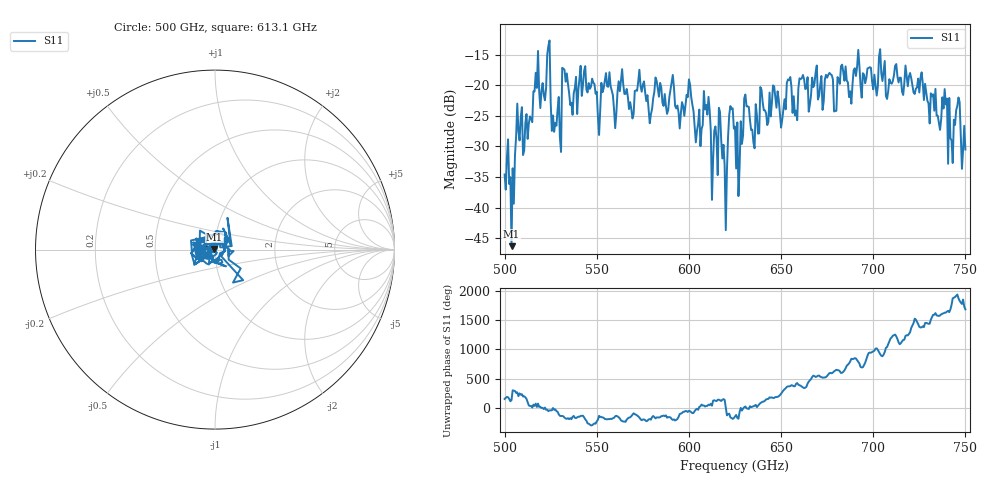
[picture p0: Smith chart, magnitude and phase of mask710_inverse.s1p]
!Created with skrf (http://scikit-rf.org).
# GHz S MA R 50.0
!freq magS11 angS11
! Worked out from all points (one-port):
!   401 points, 500 GHz to 750 GHz, reference 50 ohm
!   lowest |S11| = -46.3 dB at 503.8 GHz (marker M1), VSWR 1.01, Z = 49.7 + j0.379 ohm
!   |S11| at or under -10 dB: start of sweep to end of sweep
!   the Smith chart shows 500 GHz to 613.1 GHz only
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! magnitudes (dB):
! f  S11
! 500 GHz  -34.6
! 503.8 GHz  -46.3
! 508.1 GHz  -29.0
! 511.2 GHz  -26.2
! 516.9 GHz  -18.0
! 523.8 GHz  -13.6
! 526.9 GHz  -27.6
! 531.2 GHz  -17.2
! 532.5 GHz  -17.5
! 550.6 GHz  -25.1
! 562.5 GHz  -21.0
! 593.8 GHz  -23.3
! 609.4 GHz  -23.2
! 613.1 GHz  -32.1
! 617.5 GHz  -28.8
! 619.4 GHz  -33.1
! 622.5 GHz  -23.4
! 625 GHz  -26.8
! 626.2 GHz  -26.1
! 631.2 GHz  -23.4
! 634.4 GHz  -27.2
! 656.2 GHz  -24.5
! 687.5 GHz  -21.0
! 718.8 GHz  -20.2
! 738.8 GHz  -20.6
! 741.9 GHz  -28.6
! 745.6 GHz  -23.4
! 750 GHz  -30.5
